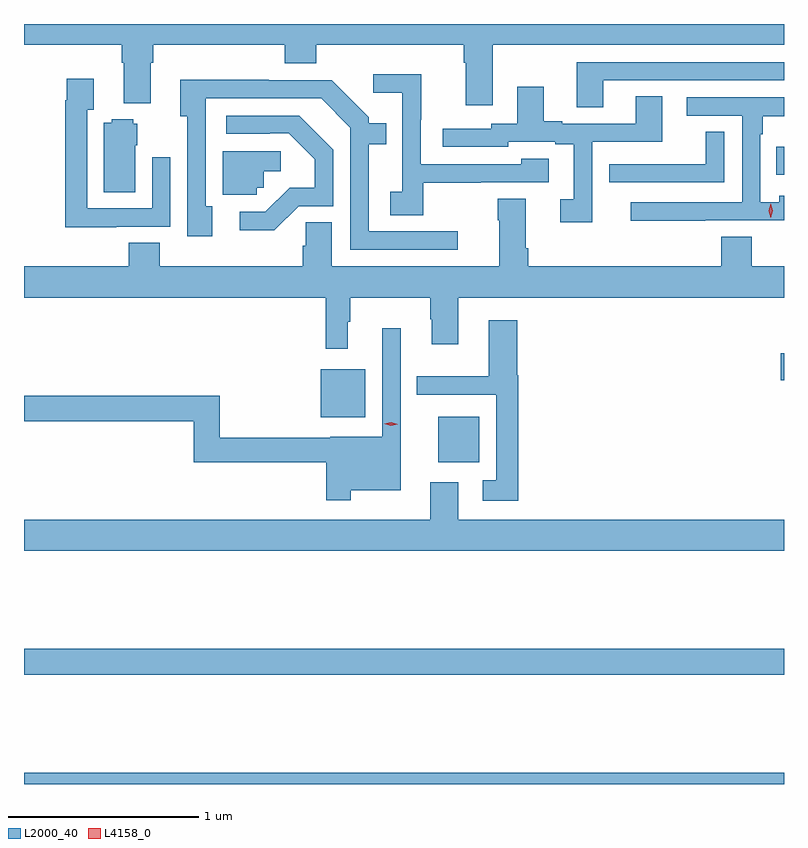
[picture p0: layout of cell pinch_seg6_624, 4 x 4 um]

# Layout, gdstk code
import gdstk
lib = gdstk.Library(unit=1e-6, precision=1e-09)
def R(c, l, rs):  # rectangles x0, y0, x1, y1
    for r in rs: c.add(gdstk.rectangle(r[:2], r[2:], *l))
def P(c, l, *ps):  # polygons
    for p in ps: c.add(gdstk.Polygon(p, *l))
L2000_40 = (2000, 40)
L4158_0 = (4158, 0)

pinch_seg6_624 = lib.new_cell('pinch_seg6_624')
R(pinch_seg6_624, L2000_40, [(431.083,966.088,435.083,966.148), (431.083,966.664,435.083,966.8), (433.262,967.781,433.48,968.02), (432.644,968.018,432.88,968.272), (435.066,968.213,435.083,968.355), (435.043,969.294,435.083,969.442)])
P(pinch_seg6_624, L2000_40, [(431.083,969.98),(431.597,969.98),(431.597,969.884),(431.609,969.884),(431.609,969.671),(431.749,969.671),(431.749,969.884),(431.762,969.884),(431.762,969.98),(432.455,969.98),(432.455,969.881),(432.62,969.881),(432.62,969.98),(433.397,969.98),(433.397,969.884),(433.409,969.884),(433.409,969.66),(433.549,969.66),(433.549,969.98),(435.083,969.98),(435.083,970.088),(431.083,970.088)],
  [(434.131,969.792),(435.083,969.792),(435.083,969.888),(433.991,969.888),(433.991,969.649),(434.131,969.649)],
  [(433.183,969.253),(433.487,969.253),(433.487,969.255),(433.846,969.255),(433.846,969.379),(433.701,969.379),(433.701,969.351),(433.17,969.351),(433.17,969.584),(433.173,969.584),(433.173,969.823),(432.921,969.823),(432.921,969.725),(433.074,969.725),(433.074,969.204),(433.011,969.204),(433.011,969.082),(433.183,969.082)],
  [(431.569,969.021),(431.853,969.021),(431.853,969.388),(431.757,969.388),(431.757,969.117),(431.415,969.117),(431.415,969.638),(431.449,969.638),(431.449,969.799),(431.307,969.799),(431.307,969.686),(431.299,969.686),(431.299,969.017),(431.569,969.017)],
  [(433.366,968.997),(432.898,968.997),(432.898,969.456),(432.989,969.456),(432.989,969.565),(432.897,969.565),(432.897,969.597),(432.702,969.792),(432.371,969.792),(432.371,969.794),(431.906,969.794),(431.906,969.602),(431.943,969.602),(431.943,968.97),(432.073,968.97),(432.073,969.13),(432.039,969.13),(432.039,969.696),(432.648,969.696),(432.801,969.543),(432.801,968.901),(433.366,968.901)],
  [(434.073,969.468),(434.443,969.468),(434.443,969.707),(434.303,969.707),(434.303,969.564),(433.915,969.564),(433.915,969.577),(433.819,969.577),(433.819,969.757),(433.679,969.757),(433.679,969.564),(433.542,969.564),(433.542,969.537),(433.287,969.537),(433.287,969.441),(433.632,969.441),(433.632,969.468),(433.88,969.468),(433.88,969.456),(433.976,969.456),(433.976,969.165),(433.905,969.165),(433.905,969.045),(434.073,969.045)],
  [(434.669,969.054),(435.083,969.054),(435.083,969.183),(435.057,969.183),(435.057,969.151),(434.958,969.151),(434.958,969.509),(434.971,969.509),(434.971,969.602),(435.083,969.602),(435.083,969.702),(434.571,969.702),(434.571,969.606),(434.862,969.606),(434.862,969.15),(434.277,969.15),(434.277,969.052),(434.669,969.052)],
  [(432.528,969.129),(432.711,969.129),(432.711,969.427),(432.532,969.606),(432.147,969.606),(432.147,969.51),(432.377,969.51),(432.377,969.513),(432.477,969.513),(432.614,969.376),(432.614,969.226),(432.481,969.226),(432.354,969.099),(432.219,969.099),(432.219,969.002),(432.4,969.002)],
  [(431.668,969.45),(431.68,969.45),(431.68,969.564),(431.658,969.564),(431.658,969.586),(431.544,969.586),(431.544,969.568),(431.504,969.568),(431.504,969.202),(431.668,969.202)],
  [(434.769,969.521),(434.671,969.521),(434.671,969.351),(434.275,969.351),(434.275,969.35),(434.163,969.35),(434.163,969.255),(434.769,969.255)],
  [(432.309,969.225),(432.345,969.225),(432.345,969.314),(432.433,969.314),(432.433,969.417),(432.128,969.417),(432.128,969.189),(432.309,969.189)],
  [(432.788,968.522),(432.799,968.522),(432.799,968.648),(433.222,968.648),(433.222,968.534),(433.229,968.534),(433.229,968.403),(433.369,968.403),(433.369,968.648),(435.083,968.648),(435.083,968.812),(434.913,968.812),(434.913,968.969),(434.753,968.969),(434.753,968.812),(433.736,968.812),(433.736,968.908),(433.723,968.908),(433.723,969.169),(433.576,969.169),(433.576,969.056),(433.583,969.056),(433.583,968.812),(432.703,968.812),(432.703,969.044),(432.565,969.044),(432.565,968.922),(432.551,968.922),(432.551,968.812),(431.798,968.812),(431.798,968.936),(431.633,968.936),(431.633,968.812),(431.083,968.812),(431.083,968.648),(432.67,968.648),(432.67,968.379),(432.788,968.379)],
  [(433.685,968.239),(433.679,968.239),(433.679,968.53),(433.529,968.53),(433.529,968.233),(433.15,968.233),(433.15,968.136),(433.569,968.136),(433.569,967.687),(433.497,967.687),(433.497,967.578),(433.685,967.578)],
  [(432.802,967.634),(433.067,967.634),(433.067,968.011),(433.065,968.011),(433.065,968.488),(432.969,968.488),(432.969,967.915),(432.696,967.915),(432.696,967.91),(432.113,967.91),(432.113,968.132),(431.083,968.132),(431.083,967.996),(431.977,967.996),(431.977,967.782),(432.673,967.782),(432.673,967.581),(432.802,967.581)],
  [(435.083,967.48),(433.369,967.48),(433.369,967.675),(433.22,967.675),(433.22,967.48),(431.083,967.48),(431.083,967.316),(435.083,967.316)])
P(pinch_seg6_624, L4158_0, [(435.013,969.069),(435.013,969.069),(435.003,969.105),(435.013,969.141),(435.013,969.141),(435.013,969.141),(435.023,969.105),(435.013,969.069)],
  [(433.014,967.973),(432.979,967.984),(432.979,967.984),(432.979,967.984),(433.015,967.993),(433.05,967.981),(433.05,967.981),(433.05,967.981)])

lib.write_gds('pinch_seg6_624.gds')
